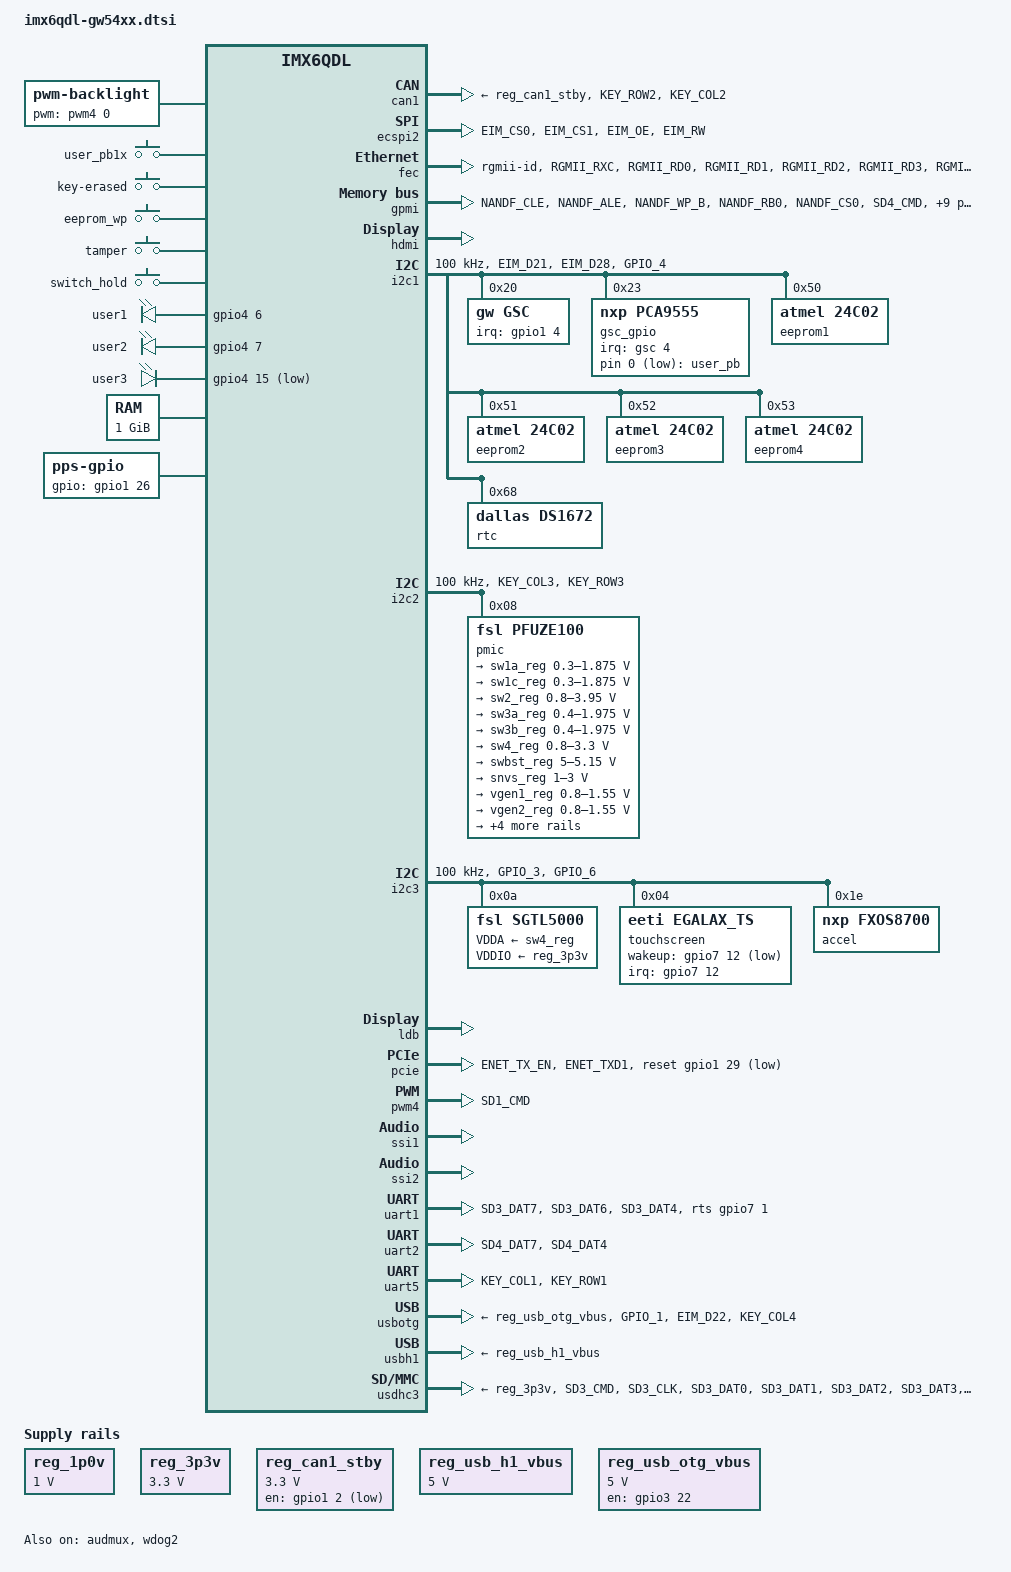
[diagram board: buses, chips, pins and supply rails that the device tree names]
// SPDX-License-Identifier: GPL-2.0-or-later
/*
 * Copyright 2013 Gateworks Corporation
 */

#include <dt-bindings/gpio/gpio.h>
#include <dt-bindings/input/linux-event-codes.h>
#include <dt-bindings/interrupt-controller/irq.h>
#include <dt-bindings/sound/fsl-imx-audmux.h>

/ {
	/* these are used by bootloader for disabling nodes */
	aliases {
		led0 = &led0;
		led1 = &led1;
		led2 = &led2;
		nand = &gpmi;
		ssi0 = &ssi1;
		usb0 = &usbh1;
		usb1 = &usbotg;
	};

	chosen {
		bootargs = "console=ttymxc1,115200";
	};

	backlight {
		compatible = "pwm-backlight";
		pwms = <&pwm4 0 5000000>;
		brightness-levels = <0 4 8 16 32 64 128 255>;
		default-brightness-level = <7>;
	};

	gpio-keys {
		compatible = "gpio-keys";

		user-pb {
			label = "user_pb";
			gpios = <&gsc_gpio 0 GPIO_ACTIVE_LOW>;
			linux,code = <BTN_0>;
		};

		user-pb1x {
			label = "user_pb1x";
			linux,code = <BTN_1>;
			interrupt-parent = <&gsc>;
			interrupts = <0>;
		};

		key-erased {
			label = "key-erased";
			linux,code = <BTN_2>;
			interrupt-parent = <&gsc>;
			interrupts = <1>;
		};

		eeprom-wp {
			label = "eeprom_wp";
			linux,code = <BTN_3>;
			interrupt-parent = <&gsc>;
			interrupts = <2>;
		};

		tamper {
			label = "tamper";
			linux,code = <BTN_4>;
			interrupt-parent = <&gsc>;
			interrupts = <5>;
		};

		switch-hold {
			label = "switch_hold";
			linux,code = <BTN_5>;
			interrupt-parent = <&gsc>;
			interrupts = <7>;
		};
	};

	leds {
		compatible = "gpio-leds";
		pinctrl-names = "default";
		pinctrl-0 = <&pinctrl_gpio_leds>;

		led0: led-user1 {
			label = "user1";
			gpios = <&gpio4 6 GPIO_ACTIVE_HIGH>; /* MX6_PANLEDG */
			default-state = "on";
			linux,default-trigger = "heartbeat";
		};

		led1: led-user2 {
			label = "user2";
			gpios = <&gpio4 7 GPIO_ACTIVE_HIGH>; /* MX6_PANLEDR */
			default-state = "off";
		};

		led2: led-user3 {
			label = "user3";
			gpios = <&gpio4 15 GPIO_ACTIVE_LOW>; /* MX6_LOCLED# */
			default-state = "off";
		};
	};

	memory@10000000 {
		device_type = "memory";
		reg = <0x10000000 0x40000000>;
	};

	pps {
		compatible = "pps-gpio";
		pinctrl-names = "default";
		pinctrl-0 = <&pinctrl_pps>;
		gpios = <&gpio1 26 GPIO_ACTIVE_HIGH>;
		status = "okay";
	};

	reg_1p0v: regulator-1p0v {
		compatible = "regulator-fixed";
		regulator-name = "1P0V";
		regulator-min-microvolt = <1000000>;
		regulator-max-microvolt = <1000000>;
		regulator-always-on;
	};

	reg_3p3v: regulator-3p3v {
		compatible = "regulator-fixed";
		regulator-name = "3P3V";
		regulator-min-microvolt = <3300000>;
		regulator-max-microvolt = <3300000>;
		regulator-always-on;
	};

	reg_can1_stby: regulator-can1-stby {
		compatible = "regulator-fixed";
		pinctrl-names = "default";
		pinctrl-0 = <&pinctrl_reg_can1>;
		regulator-name = "can1_stby";
		gpio = <&gpio1 2 GPIO_ACTIVE_LOW>;
		regulator-min-microvolt = <3300000>;
		regulator-max-microvolt = <3300000>;
	};

	reg_usb_h1_vbus: regulator-usb-h1-vbus {
		compatible = "regulator-fixed";
		regulator-name = "usb_h1_vbus";
		regulator-min-microvolt = <5000000>;
		regulator-max-microvolt = <5000000>;
		regulator-always-on;
	};

	reg_usb_otg_vbus: regulator-usb-otg-vbus {
		compatible = "regulator-fixed";
		regulator-name = "usb_otg_vbus";
		regulator-min-microvolt = <5000000>;
		regulator-max-microvolt = <5000000>;
		gpio = <&gpio3 22 GPIO_ACTIVE_HIGH>;
		enable-active-high;
	};

	sound-analog {
		compatible = "fsl,imx6q-ventana-sgtl5000",
			     "fsl,imx-audio-sgtl5000";
		model = "sgtl5000-audio";
		ssi-controller = <&ssi1>;
		audio-codec = <&sgtl5000>;
		audio-routing =
			"MIC_IN", "Mic Jack",
			"Mic Jack", "Mic Bias",
			"Headphone Jack", "HP_OUT";
		mux-int-port = <1>;
		mux-ext-port = <4>;
	};
};

&audmux {
	pinctrl-names = "default";
	pinctrl-0 = <&pinctrl_audmux>; /* AUD4<->sgtl5000 */
	status = "okay";

	mux-ssi2 {
		fsl,audmux-port = <1>;
		fsl,port-config = <
			(IMX_AUDMUX_V2_PTCR_TFSDIR |
			IMX_AUDMUX_V2_PTCR_TFSEL(4+8) | /* RXFS */
			IMX_AUDMUX_V2_PTCR_TCLKDIR |
			IMX_AUDMUX_V2_PTCR_TCSEL(4+8) | /* RXC */
			IMX_AUDMUX_V2_PTCR_SYN)
			IMX_AUDMUX_V2_PDCR_RXDSEL(4)
		>;
	};

	mux-aud5 {
		fsl,audmux-port = <4>;
		fsl,port-config = <
			IMX_AUDMUX_V2_PTCR_SYN
			IMX_AUDMUX_V2_PDCR_RXDSEL(1)>;
	};
};

&can1 {
	pinctrl-names = "default";
	pinctrl-0 = <&pinctrl_flexcan1>;
	xceiver-supply = <&reg_can1_stby>;
	status = "okay";
};

&clks {
	assigned-clocks = <&clks IMX6QDL_CLK_LDB_DI0_SEL>,
			  <&clks IMX6QDL_CLK_LDB_DI1_SEL>;
	assigned-clock-parents = <&clks IMX6QDL_CLK_PLL3_USB_OTG>,
				 <&clks IMX6QDL_CLK_PLL3_USB_OTG>;
};

&ecspi2 {
	cs-gpios = <&gpio2 26 GPIO_ACTIVE_LOW>;
	pinctrl-names = "default";
	pinctrl-0 = <&pinctrl_ecspi2>;
	status = "okay";
};

&fec {
	pinctrl-names = "default";
	pinctrl-0 = <&pinctrl_enet>;
	phy-mode = "rgmii-id";
	phy-reset-gpios = <&gpio1 30 GPIO_ACTIVE_LOW>;
	status = "okay";
};

&gpmi {
	pinctrl-names = "default";
	pinctrl-0 = <&pinctrl_gpmi_nand>;
	status = "okay";
};

&hdmi {
	ddc-i2c-bus = <&i2c3>;
	status = "okay";
};

&i2c1 {
	clock-frequency = <100000>;
	pinctrl-names = "default";
	pinctrl-0 = <&pinctrl_i2c1>;
	status = "okay";

	gsc: gsc@20 {
		compatible = "gw,gsc";
		reg = <0x20>;
		interrupt-parent = <&gpio1>;
		interrupts = <4 IRQ_TYPE_LEVEL_LOW>;
		interrupt-controller;
		#interrupt-cells = <1>;
		#address-cells = <1>;
		#size-cells = <0>;

		adc {
			compatible = "gw,gsc-adc";
			#address-cells = <1>;
			#size-cells = <0>;

			channel@0 {
				gw,mode = <0>;
				reg = <0x00>;
				label = "temp";
			};

			channel@2 {
				gw,mode = <1>;
				reg = <0x02>;
				label = "vdd_vin";
			};

			channel@5 {
				gw,mode = <1>;
				reg = <0x05>;
				label = "vdd_3p3";
			};

			channel@8 {
				gw,mode = <1>;
				reg = <0x08>;
				label = "vdd_bat";
			};

			channel@b {
				gw,mode = <1>;
				reg = <0x0b>;
				label = "vdd_5p0";
			};

			channel@e {
				gw,mode = <1>;
				reg = <0xe>;
				label = "vdd_arm";
			};

			channel@11 {
				gw,mode = <1>;
				reg = <0x11>;
				label = "vdd_soc";
			};

			channel@14 {
				gw,mode = <1>;
				reg = <0x14>;
				label = "vdd_3p0";
			};

			channel@17 {
				gw,mode = <1>;
				reg = <0x17>;
				label = "vdd_1p5";
			};

			channel@1d {
				gw,mode = <1>;
				reg = <0x1d>;
				label = "vdd_1p8";
			};

			channel@20 {
				gw,mode = <1>;
				reg = <0x20>;
				label = "vdd_1p0";
			};

			channel@23 {
				gw,mode = <1>;
				reg = <0x23>;
				label = "vdd_2p5";
			};

			channel@26 {
				gw,mode = <1>;
				reg = <0x26>;
				label = "vdd_gps";
			};
		};

		fan-controller@2c {
			compatible = "gw,gsc-fan";
			reg = <0x2c>;
		};
	};

	gsc_gpio: gpio@23 {
		compatible = "nxp,pca9555";
		reg = <0x23>;
		gpio-controller;
		#gpio-cells = <2>;
		interrupt-parent = <&gsc>;
		interrupts = <4>;
	};

	eeprom1: eeprom@50 {
		compatible = "atmel,24c02";
		reg = <0x50>;
		pagesize = <16>;
	};

	eeprom2: eeprom@51 {
		compatible = "atmel,24c02";
		reg = <0x51>;
		pagesize = <16>;
	};

	eeprom3: eeprom@52 {
		compatible = "atmel,24c02";
		reg = <0x52>;
		pagesize = <16>;
	};

	eeprom4: eeprom@53 {
		compatible = "atmel,24c02";
		reg = <0x53>;
		pagesize = <16>;
	};

	rtc: ds1672@68 {
		compatible = "dallas,ds1672";
		reg = <0x68>;
	};
};

&i2c2 {
	clock-frequency = <100000>;
	pinctrl-names = "default";
	pinctrl-0 = <&pinctrl_i2c2>;
	status = "okay";

	pmic: pmic@8 {
		compatible = "fsl,pfuze100";
		reg = <0x08>;

		regulators {
			sw1a_reg: sw1ab {
				regulator-min-microvolt = <300000>;
				regulator-max-microvolt = <1875000>;
				regulator-boot-on;
				regulator-always-on;
				regulator-ramp-delay = <6250>;
			};

			sw1c_reg: sw1c {
				regulator-min-microvolt = <300000>;
				regulator-max-microvolt = <1875000>;
				regulator-boot-on;
				regulator-always-on;
				regulator-ramp-delay = <6250>;
			};

			sw2_reg: sw2 {
				regulator-min-microvolt = <800000>;
				regulator-max-microvolt = <3950000>;
				regulator-boot-on;
				regulator-always-on;
			};

			sw3a_reg: sw3a {
				regulator-min-microvolt = <400000>;
				regulator-max-microvolt = <1975000>;
				regulator-boot-on;
				regulator-always-on;
			};

			sw3b_reg: sw3b {
				regulator-min-microvolt = <400000>;
				regulator-max-microvolt = <1975000>;
				regulator-boot-on;
				regulator-always-on;
			};

			sw4_reg: sw4 {
				regulator-min-microvolt = <800000>;
				regulator-max-microvolt = <3300000>;
			};

			swbst_reg: swbst {
				regulator-min-microvolt = <5000000>;
				regulator-max-microvolt = <5150000>;
				regulator-boot-on;
				regulator-always-on;
			};

			snvs_reg: vsnvs {
				regulator-min-microvolt = <1000000>;
				regulator-max-microvolt = <3000000>;
				regulator-boot-on;
				regulator-always-on;
			};

			vref_reg: vrefddr {
				regulator-boot-on;
				regulator-always-on;
			};

			vgen1_reg: vgen1 {
				regulator-min-microvolt = <800000>;
				regulator-max-microvolt = <1550000>;
			};

			vgen2_reg: vgen2 {
				regulator-min-microvolt = <800000>;
				regulator-max-microvolt = <1550000>;
			};

			vgen3_reg: vgen3 {
				regulator-min-microvolt = <1800000>;
				regulator-max-microvolt = <3300000>;
			};

			vgen4_reg: vgen4 {
				regulator-min-microvolt = <1800000>;
				regulator-max-microvolt = <3300000>;
				regulator-always-on;
			};

			vgen5_reg: vgen5 {
				regulator-min-microvolt = <1800000>;
				regulator-max-microvolt = <3300000>;
				regulator-always-on;
			};

			vgen6_reg: vgen6 {
				regulator-min-microvolt = <1800000>;
				regulator-max-microvolt = <3300000>;
				regulator-always-on;
			};
		};
	};
};

&i2c3 {
	clock-frequency = <100000>;
	pinctrl-names = "default";
	pinctrl-0 = <&pinctrl_i2c3>;
	status = "okay";

	sgtl5000: audio-codec@a {
		compatible = "fsl,sgtl5000";
		reg = <0x0a>;
		#sound-dai-cells = <0>;
		clocks = <&clks IMX6QDL_CLK_CKO>;
		VDDA-supply = <&sw4_reg>;
		VDDIO-supply = <&reg_3p3v>;
	};

	touchscreen: egalax_ts@4 {
		compatible = "eeti,egalax_ts";
		reg = <0x04>;
		interrupt-parent = <&gpio7>;
		interrupts = <12 2>;
		wakeup-gpios = <&gpio7 12 GPIO_ACTIVE_LOW>;
	};

	accel@1e {
		compatible = "nxp,fxos8700";
		reg = <0x1e>;
	};
};

&ldb {
	status = "okay";

	lvds-channel@0 {
		fsl,data-mapping = "spwg";
		fsl,data-width = <18>;
		status = "okay";

		display-timings {
			native-mode = <&timing0>;
			timing0: hsd100pxn1 {
				clock-frequency = <65000000>;
				hactive = <1024>;
				vactive = <768>;
				hback-porch = <220>;
				hfront-porch = <40>;
				vback-porch = <21>;
				vfront-porch = <7>;
				hsync-len = <60>;
				vsync-len = <10>;
			};
		};
	};
};

&pcie {
	pinctrl-names = "default";
	pinctrl-0 = <&pinctrl_pcie>;
	reset-gpio = <&gpio1 29 GPIO_ACTIVE_LOW>;
	status = "okay";
};

&pwm1 {
	pinctrl-names = "default";
	pinctrl-0 = <&pinctrl_pwm1>; /* MX6_DIO0 */
	status = "disabled";
};

&pwm2 {
	pinctrl-names = "default";
	pinctrl-0 = <&pinctrl_pwm2>; /* MX6_DIO1 */
	status = "disabled";
};

&pwm3 {
	pinctrl-names = "default";
	pinctrl-0 = <&pinctrl_pwm3>; /* MX6_DIO2 */
	status = "disabled";
};

&pwm4 {
	#pwm-cells = <2>;
	pinctrl-names = "default", "state_dio";
	pinctrl-0 = <&pinctrl_pwm4_backlight>;
	pinctrl-1 = <&pinctrl_pwm4_dio>;
	status = "okay";
};

&ssi1 {
	status = "okay";
};

&ssi2 {
	status = "okay";
};

&uart1 {
	pinctrl-names = "default";
	pinctrl-0 = <&pinctrl_uart1>;
	rts-gpios = <&gpio7 1 GPIO_ACTIVE_HIGH>;
	status = "okay";
};

&uart2 {
	pinctrl-names = "default";
	pinctrl-0 = <&pinctrl_uart2>;
	status = "okay";
};

&uart5 {
	pinctrl-names = "default";
	pinctrl-0 = <&pinctrl_uart5>;
	status = "okay";
};

&usbotg {
	vbus-supply = <&reg_usb_otg_vbus>;
	pinctrl-names = "default";
	pinctrl-0 = <&pinctrl_usbotg>;
	disable-over-current;
	status = "okay";
};

&usbh1 {
	vbus-supply = <&reg_usb_h1_vbus>;
	status = "okay";
};

&usdhc3 {
	pinctrl-names = "default", "state_100mhz", "state_200mhz";
	pinctrl-0 = <&pinctrl_usdhc3>;
	pinctrl-1 = <&pinctrl_usdhc3_100mhz>;
	pinctrl-2 = <&pinctrl_usdhc3_200mhz>;
	cd-gpios = <&gpio7 0 GPIO_ACTIVE_LOW>;
	vmmc-supply = <&reg_3p3v>;
	no-1-8-v; /* firmware will remove if board revision supports */
	status = "okay";
};

&wdog1 {
	status = "disabled";
};

&wdog2 {
	pinctrl-names = "default";
	pinctrl-0 = <&pinctrl_wdog>;
	fsl,ext-reset-output;
	status = "okay";
};

&iomuxc {
	pinctrl_audmux: audmuxgrp {
		fsl,pins = <
			MX6QDL_PAD_SD2_DAT0__AUD4_RXD		0x130b0
			MX6QDL_PAD_SD2_DAT3__AUD4_TXC		0x130b0
			MX6QDL_PAD_SD2_DAT2__AUD4_TXD		0x110b0
			MX6QDL_PAD_SD2_DAT1__AUD4_TXFS		0x130b0
			MX6QDL_PAD_GPIO_0__CCM_CLKO1		0x130b0 /* AUD4_MCK */
			MX6QDL_PAD_EIM_D25__AUD5_RXC            0x130b0
			MX6QDL_PAD_DISP0_DAT19__AUD5_RXD        0x130b0
			MX6QDL_PAD_EIM_D24__AUD5_RXFS           0x130b0
		>;
	};

	pinctrl_enet: enetgrp {
		fsl,pins = <
			MX6QDL_PAD_RGMII_RXC__RGMII_RXC		0x1b030
			MX6QDL_PAD_RGMII_RD0__RGMII_RD0		0x1b030
			MX6QDL_PAD_RGMII_RD1__RGMII_RD1		0x1b030
			MX6QDL_PAD_RGMII_RD2__RGMII_RD2		0x1b030
			MX6QDL_PAD_RGMII_RD3__RGMII_RD3		0x1b030
			MX6QDL_PAD_RGMII_RX_CTL__RGMII_RX_CTL	0x1b030
			MX6QDL_PAD_RGMII_TXC__RGMII_TXC		0x1b030
			MX6QDL_PAD_RGMII_TD0__RGMII_TD0		0x1b030
			MX6QDL_PAD_RGMII_TD1__RGMII_TD1		0x1b030
			MX6QDL_PAD_RGMII_TD2__RGMII_TD2		0x1b030
			MX6QDL_PAD_RGMII_TD3__RGMII_TD3		0x1b030
			MX6QDL_PAD_RGMII_TX_CTL__RGMII_TX_CTL	0x1b030
			MX6QDL_PAD_ENET_REF_CLK__ENET_TX_CLK	0x1b0b0
			MX6QDL_PAD_ENET_MDIO__ENET_MDIO		0x1b0b0
			MX6QDL_PAD_ENET_MDC__ENET_MDC		0x1b0b0
			MX6QDL_PAD_GPIO_16__ENET_REF_CLK	0x4001b0a8
		>;
	};

	pinctrl_ecspi2: escpi2grp {
		fsl,pins = <
			MX6QDL_PAD_EIM_CS0__ECSPI2_SCLK	0x100b1
			MX6QDL_PAD_EIM_CS1__ECSPI2_MOSI	0x100b1
			MX6QDL_PAD_EIM_OE__ECSPI2_MISO	0x100b1
			MX6QDL_PAD_EIM_RW__GPIO2_IO26	0x100b1
		>;
	};

	pinctrl_flexcan1: flexcan1grp {
		fsl,pins = <
			MX6QDL_PAD_KEY_ROW2__FLEXCAN1_RX	0x1b0b1
			MX6QDL_PAD_KEY_COL2__FLEXCAN1_TX	0x1b0b1
		>;
	};

	pinctrl_gpio_leds: gpioledsgrp {
		fsl,pins = <
			MX6QDL_PAD_KEY_COL0__GPIO4_IO06		0x1b0b0
			MX6QDL_PAD_KEY_ROW0__GPIO4_IO07		0x1b0b0
			MX6QDL_PAD_KEY_ROW4__GPIO4_IO15		0x1b0b0
		>;
	};

	pinctrl_gpmi_nand: gpminandgrp {
		fsl,pins = <
			MX6QDL_PAD_NANDF_CLE__NAND_CLE		0xb0b1
			MX6QDL_PAD_NANDF_ALE__NAND_ALE		0xb0b1
			MX6QDL_PAD_NANDF_WP_B__NAND_WP_B	0xb0b1
			MX6QDL_PAD_NANDF_RB0__NAND_READY_B	0xb000
			MX6QDL_PAD_NANDF_CS0__NAND_CE0_B	0xb0b1
			MX6QDL_PAD_SD4_CMD__NAND_RE_B		0xb0b1
			MX6QDL_PAD_SD4_CLK__NAND_WE_B		0xb0b1
			MX6QDL_PAD_NANDF_D0__NAND_DATA00	0xb0b1
			MX6QDL_PAD_NANDF_D1__NAND_DATA01	0xb0b1
			MX6QDL_PAD_NANDF_D2__NAND_DATA02	0xb0b1
			MX6QDL_PAD_NANDF_D3__NAND_DATA03	0xb0b1
			MX6QDL_PAD_NANDF_D4__NAND_DATA04	0xb0b1
			MX6QDL_PAD_NANDF_D5__NAND_DATA05	0xb0b1
			MX6QDL_PAD_NANDF_D6__NAND_DATA06	0xb0b1
			MX6QDL_PAD_NANDF_D7__NAND_DATA07	0xb0b1
		>;
	};

	pinctrl_i2c1: i2c1grp {
		fsl,pins = <
			MX6QDL_PAD_EIM_D21__I2C1_SCL		0x4001b8b1
			MX6QDL_PAD_EIM_D28__I2C1_SDA		0x4001b8b1
			MX6QDL_PAD_GPIO_4__GPIO1_IO04		0xb0b1
		>;
	};

	pinctrl_i2c2: i2c2grp {
		fsl,pins = <
			MX6QDL_PAD_KEY_COL3__I2C2_SCL		0x4001b8b1
			MX6QDL_PAD_KEY_ROW3__I2C2_SDA		0x4001b8b1
		>;
	};

	pinctrl_i2c3: i2c3grp {
		fsl,pins = <
			MX6QDL_PAD_GPIO_3__I2C3_SCL		0x4001b8b1
			MX6QDL_PAD_GPIO_6__I2C3_SDA		0x4001b8b1
		>;
	};

	pinctrl_pcie: pciegrp {
		fsl,pins = <
			MX6QDL_PAD_ENET_TX_EN__GPIO1_IO28	0x1b0b0 /* PCIE IRQ */
			MX6QDL_PAD_ENET_TXD1__GPIO1_IO29	0x1b0b0 /* PCIE RST */
		>;
	};

	pinctrl_pps: ppsgrp {
		fsl,pins = <
			MX6QDL_PAD_ENET_RXD1__GPIO1_IO26	0x1b0b1
		>;
	};

	pinctrl_pwm1: pwm1grp {
		fsl,pins = <
			MX6QDL_PAD_GPIO_9__PWM1_OUT		0x1b0b1
		>;
	};

	pinctrl_pwm2: pwm2grp {
		fsl,pins = <
			MX6QDL_PAD_SD1_DAT2__PWM2_OUT		0x1b0b1
		>;
	};

	pinctrl_pwm3: pwm3grp {
		fsl,pins = <
			MX6QDL_PAD_SD4_DAT1__PWM3_OUT		0x1b0b1
		>;
	};

	pinctrl_pwm4_backlight: pwm4grpbacklight {
		fsl,pins = <
			/* LVDS_PWM J6.5 */
			MX6QDL_PAD_SD1_CMD__PWM4_OUT		0x1b0b1
		>;
	};

	pinctrl_pwm4_dio: pwm4grpdio {
		fsl,pins = <
			/* DIO3 J16.4 */
			MX6QDL_PAD_SD4_DAT2__PWM4_OUT		0x1b0b1
		>;
	};

	pinctrl_reg_can1: regcan1grp {
		fsl,pins = <
			MX6QDL_PAD_GPIO_2__GPIO1_IO02		0x4001b0b0 /* CAN_STBY */
		>;
	};

	pinctrl_uart1: uart1grp {
		fsl,pins = <
			MX6QDL_PAD_SD3_DAT7__UART1_TX_DATA	0x1b0b1
			MX6QDL_PAD_SD3_DAT6__UART1_RX_DATA	0x1b0b1
			MX6QDL_PAD_SD3_DAT4__GPIO7_IO01		0x4001b0b1 /* TEN */
		>;
	};

	pinctrl_uart2: uart2grp {
		fsl,pins = <
			MX6QDL_PAD_SD4_DAT7__UART2_TX_DATA	0x1b0b1
			MX6QDL_PAD_SD4_DAT4__UART2_RX_DATA	0x1b0b1
		>;
	};

	pinctrl_uart5: uart5grp {
		fsl,pins = <
			MX6QDL_PAD_KEY_COL1__UART5_TX_DATA	0x1b0b1
			MX6QDL_PAD_KEY_ROW1__UART5_RX_DATA	0x1b0b1
		>;
	};

	pinctrl_usbotg: usbotggrp {
		fsl,pins = <
			MX6QDL_PAD_GPIO_1__USB_OTG_ID		0x17059
			MX6QDL_PAD_EIM_D22__GPIO3_IO22		0x1b0b0 /* PWR_EN */
			MX6QDL_PAD_KEY_COL4__USB_OTG_OC		0x17059
		>;
	};

	pinctrl_usdhc3: usdhc3grp {
		fsl,pins = <
			MX6QDL_PAD_SD3_CMD__SD3_CMD		0x17059
			MX6QDL_PAD_SD3_CLK__SD3_CLK		0x10059
			MX6QDL_PAD_SD3_DAT0__SD3_DATA0		0x17059
			MX6QDL_PAD_SD3_DAT1__SD3_DATA1		0x17059
			MX6QDL_PAD_SD3_DAT2__SD3_DATA2		0x17059
			MX6QDL_PAD_SD3_DAT3__SD3_DATA3		0x17059
			MX6QDL_PAD_SD3_DAT5__GPIO7_IO00		0x17059 /* CD */
			MX6QDL_PAD_NANDF_CS1__SD3_VSELECT	0x17059
		>;
	};

	pinctrl_usdhc3_100mhz: usdhc3grp100mhz {
		fsl,pins = <
			MX6QDL_PAD_SD3_CMD__SD3_CMD		0x170b9
			MX6QDL_PAD_SD3_CLK__SD3_CLK		0x100b9
			MX6QDL_PAD_SD3_DAT0__SD3_DATA0		0x170b9
			MX6QDL_PAD_SD3_DAT1__SD3_DATA1		0x170b9
			MX6QDL_PAD_SD3_DAT2__SD3_DATA2		0x170b9
			MX6QDL_PAD_SD3_DAT3__SD3_DATA3		0x170b9
			MX6QDL_PAD_SD3_DAT5__GPIO7_IO00		0x170b9 /* CD */
			MX6QDL_PAD_NANDF_CS1__SD3_VSELECT	0x170b9
		>;
	};

	pinctrl_usdhc3_200mhz: usdhc3grp200mhz {
		fsl,pins = <
			MX6QDL_PAD_SD3_CMD__SD3_CMD		0x170f9
			MX6QDL_PAD_SD3_CLK__SD3_CLK		0x100f9
			MX6QDL_PAD_SD3_DAT0__SD3_DATA0		0x170f9
			MX6QDL_PAD_SD3_DAT1__SD3_DATA1		0x170f9
			MX6QDL_PAD_SD3_DAT2__SD3_DATA2		0x170f9
			MX6QDL_PAD_SD3_DAT3__SD3_DATA3		0x170f9
			MX6QDL_PAD_SD3_DAT5__GPIO7_IO00		0x170f9 /* CD */
			MX6QDL_PAD_NANDF_CS1__SD3_VSELECT	0x170f9
		>;
	};

	pinctrl_wdog: wdoggrp {
		fsl,pins = <
			MX6QDL_PAD_SD1_DAT3__WDOG2_B		0x1b0b0
		>;
	};
};
